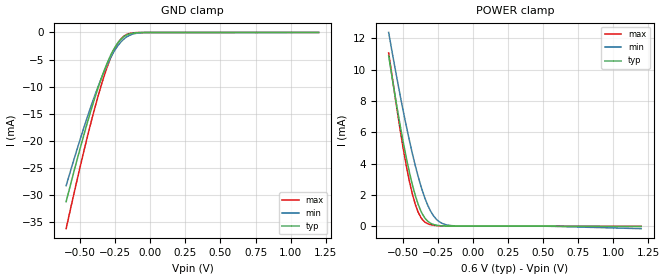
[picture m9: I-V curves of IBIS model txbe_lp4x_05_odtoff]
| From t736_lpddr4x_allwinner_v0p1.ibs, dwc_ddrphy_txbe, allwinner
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[Model] txbe_lp4x_05_odtoff
Model_type   Input
Polarity   Non-Inverting
Enable   Active-High
C_comp   950.291fF   940.381fF   966.592fF
C_comp_pullup   281.840fF   277.095fF   283.609fF
C_comp_pulldown 542.237fF   537.050fF   560.049fF
Vinh = 360.000mV
Vinl = 307.000mV
[Model Spec]
D_overshoot_ampl_h 0.1 NA   NA
D_overshoot_ampl_l 0.1 NA   NA
D_overshoot_area_l 300.000m NA   NA
D_overshoot_area_h 300.000m NA   NA
[Receiver Thresholds]
Vth = 163.000mV
Vth_min = 143.000mV
Vth_max = 150.000mV
Vinh_ac = 60.000mV
Vinh_dc = 60.000mV
Vinl_ac = -60.000mV
Vinl_dc = -60.000mV
Tslew_ac = 5.000ns
Threshold_sensitivity = 0.5
Reference_supply Power_clamp_ref
[Temperature Range]   25.000   125.000   -40.000
[Voltage Range]   600.000mV   570.000mV   650.000mV
[GND Clamp Reference]   0.00V   0.00V   0.00V
[C Comp Corner]
| variable   typ   min   max
C_comp 950.291fF   966.592fF   940.381fF
C_comp_pullup 281.840fF   283.609fF   277.095fF
C_comp_pulldown 542.237fF   560.049fF   537.050fF
[POWER Clamp Reference]   600.000mV   570.000mV   650.000mV
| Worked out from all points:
|   GND clamp passes 1 mA (typ) near -0.20 V on its own axis
|   POWER clamp passes 1 mA (typ) near -0.37 V on its own axis
[GND Clamp]
-600mV    -31.22mA   -28.27mA   -36.19mA
-520mV    -23.28mA   -21.37mA   -26.99mA
-450mV    -16.74mA   -15.69mA   -19.38mA
-390mV    -11.62mA   -11.22mA   -13.38mA
-350mV    -8.525mA   -8.504mA   -9.76mA
-300mV    -5.19mA    -5.531mA   -5.831mA
-260mV    -3.064mA   -3.57mA    -3.325mA
-230mV    -1.852mA   -2.39mA    -1.909mA
-190mV    -786.8uA   -1.239mA   -707.9uA
-130mV    -143.8uA   -342.1uA   -87.78uA
-40mV     -4.532uA   -19.09uA   -1.525uA
1.2V      1.311uA    15.49uA    381.8nA
[Power Clamp]
-600mV    10.91mA    12.39mA    11.07mA
-540mV    7.576mA    9.402mA    7.435mA
-490mV    5.088mA    7.093mA    4.645mA
-450mV    3.363mA    5.394mA    2.787mA
-410mV    1.961mA    3.868mA    1.391mA
-370mV    961.9uA    2.559mA    550.9uA
-340mV    496.2uA    1.753mA    248.6uA
-300mV    180.3uA    945.4uA    90.25uA
-250mV    46.9uA     359uA      29.19uA
-190mV    8.475uA    89.17uA    6.144uA
-120mV    854.5nA    14.07uA    451.4nA
1.2V      -21.99uA   -159.5uA   -4.464uA
